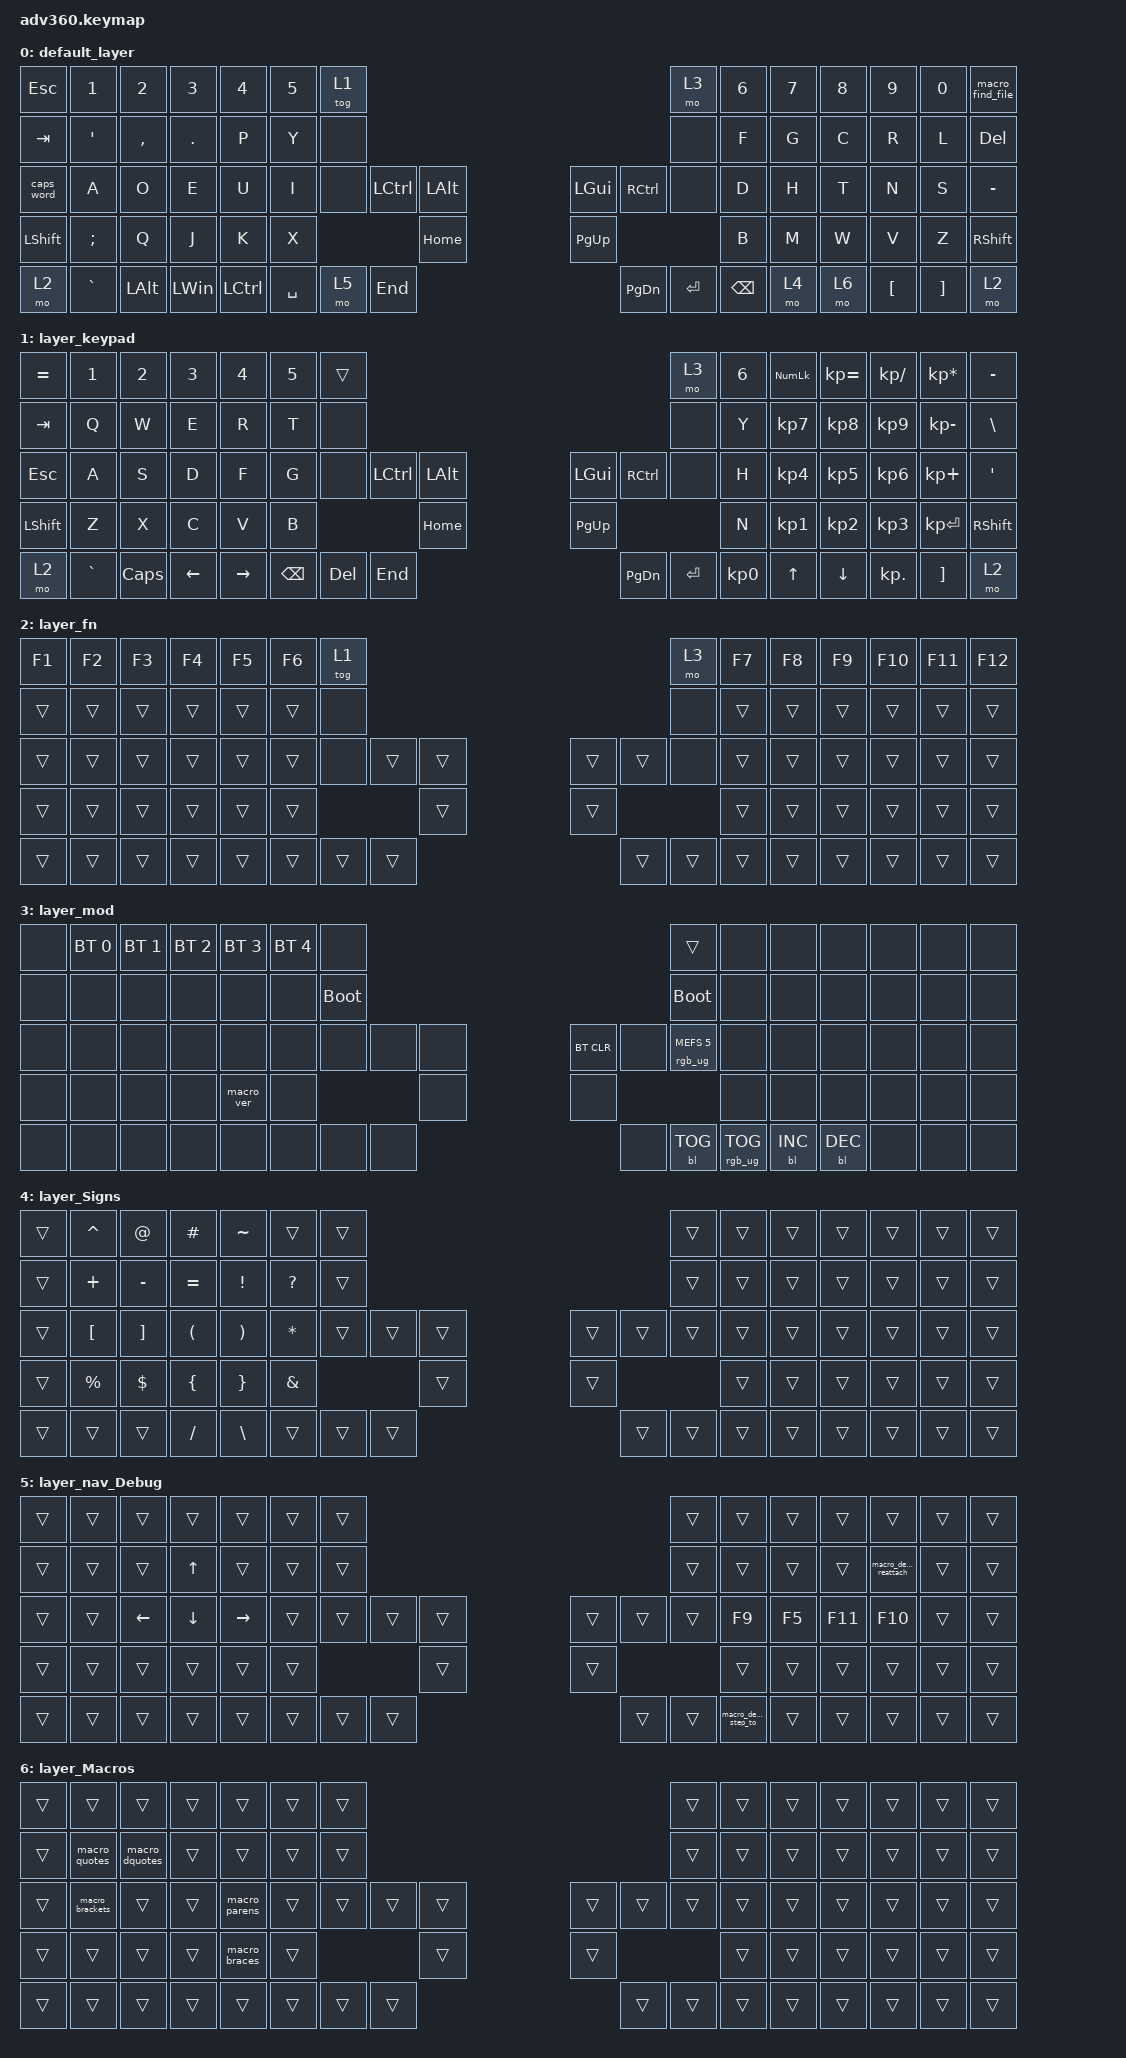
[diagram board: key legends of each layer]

/*
 * Copyright (c) 2020 The ZMK Contributors
 *
 * SPDX-License-Identifier: MIT
 */


/* THIS FILE WAS GENERATED!
 *
 * This file was generated automatically. You may or may not want to
 * edit it directly.
 */

#include <behaviors.dtsi>
#include <dt-bindings/zmk/keys.h>
#include <dt-bindings/zmk/bt.h>
#include <dt-bindings/zmk/rgb.h>
#include <dt-bindings/zmk/backlight.h>

/ {
  behaviors {
    #include "macros.dtsi"
    #include "version.dtsi"

    hm: homerow_mods {
        compatible = "zmk,behavior-hold-tap";
        label = "HOMEROW_MODS";
        #binding-cells = <2>;
        tapping-term-ms = <200>;
        quick_tap_ms = <175>;
        flavor = "tap-preferred";
        bindings = <&kp>, <&kp>;
    };
  };

    keymap {
        compatible = "zmk,keymap";


        default_layer {
            bindings = <
    &kp ESC            &kp N1        &kp N2        &kp N3     &kp N4  &kp N5               &tog 1                                                                &mo 3  &kp N6  &kp N7  &kp N8    &kp N9    &kp N0  &macro_find_file
    &kp TAB  &kp SINGLE_QUOTE     &kp COMMA    &kp PERIOD      &kp P   &kp Y                &none                                                                &none   &kp F   &kp G   &kp C     &kp R     &kp L        &kp DELETE
 &caps_word             &kp A         &kp O         &kp E      &kp U   &kp I                &none  &kp LCTRL  &kp LALT                   &kp LGUI  &kp RCTRL     &none   &kp D   &kp H   &kp T     &kp N     &kp S         &kp MINUS
  &kp LSHFT     &kp SEMICOLON         &kp Q         &kp J      &kp K   &kp X                                  &kp HOME                  &kp PG_UP                        &kp B   &kp M   &kp W     &kp V     &kp Z         &kp RSHFT
      &mo 2         &kp GRAVE  &kp LEFT_ALT  &kp LEFT_WIN  &kp LCTRL                    &kp SPACE      &mo 5   &kp END                  &kp PG_DN  &kp ENTER  &kp BSPC           &mo 4   &mo 6  &kp LBKT  &kp RBKT             &mo 2
            >;
        };

        layer_keypad {
            bindings = <
 &kp EQUAL     &kp N1    &kp N2    &kp N3     &kp N4  &kp N5              &trans                                                                 &mo 3  &kp N6  &kp KP_NUM  &kp KP_EQUAL  &kp KP_DIVIDE  &kp KP_MULTIPLY  &kp MINUS
   &kp TAB      &kp Q     &kp W     &kp E      &kp R   &kp T               &none                                                                 &none   &kp Y   &kp KP_N7     &kp KP_N8      &kp KP_N9     &kp KP_MINUS   &kp BSLH
   &kp ESC      &kp A     &kp S     &kp D      &kp F   &kp G               &none  &kp LCTRL  &kp LALT                   &kp LGUI  &kp RCTRL      &none   &kp H   &kp KP_N4     &kp KP_N5      &kp KP_N6      &kp KP_PLUS    &kp SQT
 &kp LSHFT      &kp Z     &kp X     &kp C      &kp V   &kp B                                 &kp HOME                  &kp PG_UP                         &kp N   &kp KP_N1     &kp KP_N2      &kp KP_N3     &kp KP_ENTER  &kp RSHFT
     &mo 2  &kp GRAVE  &kp CAPS  &kp LEFT  &kp RIGHT                    &kp BSPC    &kp DEL   &kp END                  &kp PG_DN  &kp ENTER  &kp KP_N0              &kp UP      &kp DOWN     &kp KP_DOT         &kp RBKT      &mo 2
            >;
        };

        layer_fn {
            bindings = <
 &kp F1  &kp F2  &kp F3  &kp F4  &kp F5  &kp F6            &tog 1                                                   &mo 3  &kp F7  &kp F8  &kp F9  &kp F10  &kp F11  &kp F12
 &trans  &trans  &trans  &trans  &trans  &trans             &none                                                   &none  &trans  &trans  &trans   &trans   &trans   &trans
 &trans  &trans  &trans  &trans  &trans  &trans             &none  &trans  &trans                  &trans  &trans   &none  &trans  &trans  &trans   &trans   &trans   &trans
 &trans  &trans  &trans  &trans  &trans  &trans                            &trans                  &trans                  &trans  &trans  &trans   &trans   &trans   &trans
 &trans  &trans  &trans  &trans  &trans                    &trans  &trans  &trans                  &trans  &trans  &trans          &trans  &trans   &trans   &trans   &trans
            >;
        };

        layer_mod {
            bindings = <
  &none  &bt BT_SEL 0  &bt BT_SEL 1  &bt BT_SEL 2  &bt BT_SEL 3  &bt BT_SEL 4                  &none                                                                          &trans   &none       &none       &none   &none   &none   &none
  &none         &none         &none         &none         &none         &none            &bootloader                                                                     &bootloader   &none       &none       &none   &none   &none   &none
  &none         &none         &none         &none         &none         &none                  &none   &none   &none                  &bt BT_CLR       &none  &rgb_ug RGB_MEFS_CMD 5   &none       &none       &none   &none   &none   &none
  &none         &none         &none         &none    &macro_ver         &none                                  &none                       &none                                       &none       &none       &none   &none   &none   &none
  &none         &none         &none         &none         &none                                &none   &none   &none                       &none  &bl BL_TOG         &rgb_ug RGB_TOG          &bl BL_INC  &bl BL_DEC   &none   &none   &none
            >;
        };

        layer_Signs {
            bindings = <
 &trans         &kp CARET             &kp AT              &kp HASH              &kp TILDE        &trans            &trans                                                  &trans  &trans  &trans  &trans  &trans  &trans  &trans
 &trans          &kp PLUS          &kp MINUS             &kp EQUAL               &kp EXCL  &kp QUESTION            &trans                                                  &trans  &trans  &trans  &trans  &trans  &trans  &trans
 &trans  &kp LEFT_BRACKET  &kp RIGHT_BRACKET  &kp LEFT_PARENTHESIS  &kp RIGHT_PARENTHESIS      &kp STAR            &trans  &trans  &trans                  &trans  &trans  &trans  &trans  &trans  &trans  &trans  &trans  &trans
 &trans         &kp PRCNT           &kp DLLR        &kp LEFT_BRACE        &kp RIGHT_BRACE      &kp AMPS                            &trans                  &trans                  &trans  &trans  &trans  &trans  &trans  &trans
 &trans            &trans             &trans             &kp SLASH          &kp BACKSLASH                          &trans  &trans  &trans                  &trans  &trans  &trans          &trans  &trans  &trans  &trans  &trans
            >;
        };

        layer_nav_Debug {
            bindings = <
 &trans  &trans    &trans    &trans     &trans  &trans            &trans                                                                &trans  &trans  &trans   &trans                 &trans  &trans  &trans
 &trans  &trans    &trans    &kp UP     &trans  &trans            &trans                                                                &trans  &trans  &trans   &trans  &macro_debug_reattach  &trans  &trans
 &trans  &trans  &kp LEFT  &kp DOWN  &kp RIGHT  &trans            &trans  &trans  &trans                  &trans  &trans                &trans  &kp F9  &kp F5  &kp F11                &kp F10  &trans  &trans
 &trans  &trans    &trans    &trans     &trans  &trans                            &trans                  &trans                                &trans  &trans   &trans                 &trans  &trans  &trans
 &trans  &trans    &trans    &trans     &trans                    &trans  &trans  &trans                  &trans  &trans  &macro_debug_step_to          &trans   &trans                 &trans  &trans  &trans
            >;
        };

        layer_Macros {
            bindings = <
 &trans           &trans          &trans  &trans         &trans  &trans            &trans                                                  &trans  &trans  &trans  &trans  &trans  &trans  &trans
 &trans    &macro_quotes  &macro_dquotes  &trans         &trans  &trans            &trans                                                  &trans  &trans  &trans  &trans  &trans  &trans  &trans
 &trans  &macro_brackets          &trans  &trans  &macro_parens  &trans            &trans  &trans  &trans                  &trans  &trans  &trans  &trans  &trans  &trans  &trans  &trans  &trans
 &trans           &trans          &trans  &trans  &macro_braces  &trans                            &trans                  &trans                  &trans  &trans  &trans  &trans  &trans  &trans
 &trans           &trans          &trans  &trans         &trans                    &trans  &trans  &trans                  &trans  &trans  &trans          &trans  &trans  &trans  &trans  &trans
            >;
        };

    };
};
